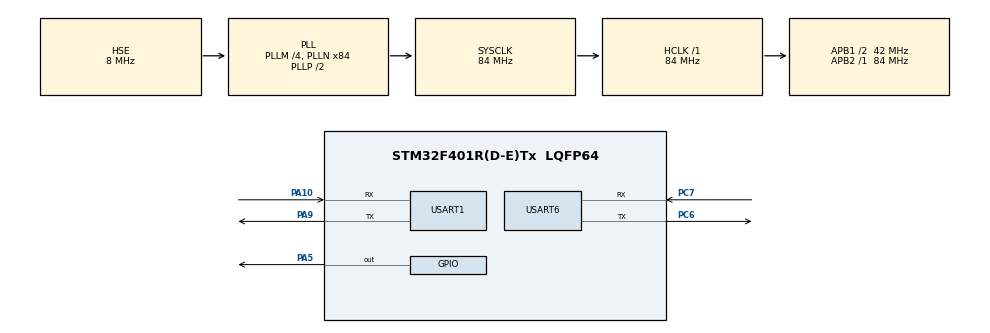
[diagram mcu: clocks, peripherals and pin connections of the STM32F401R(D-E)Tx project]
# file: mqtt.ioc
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Mcu.Family=STM32F4
Mcu.Name=STM32F401R(D-E)Tx
Mcu.Package=LQFP64
NVIC.PriorityGroup=NVIC_PRIORITYGROUP_4
NVIC.USART1_IRQn=true\:0\:0\:false\:false\:true\:true\:true\:true
NVIC.USART6_IRQn=true\:0\:0\:false\:false\:true\:true\:true\:true
PA10.Mode=Asynchronous
PA10.Signal=USART1_RX
PA13.Mode=Serial_Wire
PA13.Signal=SYS_JTMS-SWDIO
PA14.Mode=Serial_Wire
PA14.Signal=SYS_JTCK-SWCLK
PA5.Signal=GPIO_Output
PA9.Mode=Asynchronous
PA9.Signal=USART1_TX
PC6.Mode=Asynchronous
PC6.Signal=USART6_TX
PC7.Mode=Asynchronous
PC7.Signal=USART6_RX
PH0\ -\ OSC_IN.Mode=HSE-External-Clock-Source
PH0\ -\ OSC_IN.Signal=RCC_OSC_IN
PH1\ -\ OSC_OUT.Mode=HSE-External-Clock-Source
PH1\ -\ OSC_OUT.Signal=RCC_OSC_OUT
ProjectManager.HeapSize=0x200
ProjectManager.StackSize=0x400
ProjectManager.TargetToolchain=STM32CubeIDE
RCC.48MHZClocksFreq_Value=42000000
RCC.AHBFreq_Value=84000000
RCC.APB1CLKDivider=RCC_HCLK_DIV2
RCC.APB1Freq_Value=42000000
RCC.APB1TimFreq_Value=84000000
RCC.APB2Freq_Value=84000000
RCC.APB2TimFreq_Value=84000000
RCC.CortexFreq_Value=84000000
RCC.HCLKFreq_Value=84000000
RCC.HSE_VALUE=8000000
RCC.HSI_VALUE=16000000
RCC.LSE_VALUE=32768
RCC.PLLM=4
RCC.PLLN=84
RCC.PLLSourceVirtual=RCC_PLLSOURCE_HSE
RCC.SYSCLKFreq_VALUE=84000000
RCC.SYSCLKSource=RCC_SYSCLKSOURCE_PLLCLK
RCC.VCOOutputFreq_Value=168000000
USART1.VirtualMode=VM_ASYNC
USART6.VirtualMode=VM_ASYNC
board=custom

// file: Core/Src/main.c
/* USER CODE BEGIN Header */
/**
  ******************************************************************************
  * @file           : main.c
  * @brief          : Main program body
  ******************************************************************************
  * @attention
  *
  * Copyright (c) 2026 STMicroelectronics.
  * All rights reserved.
  *
  * This software is licensed under terms that can be found in the LICENSE file
  * in the root directory of this software component.
  * If no LICENSE file comes with this software, it is provided AS-IS.
  *
  ******************************************************************************
  */
/* USER CODE END Header */
#include "main.h"
#include "ESPLib.h"

UART_HandleTypeDef huart1;
UART_HandleTypeDef huart6;

void SystemClock_Config(void);
static void MX_GPIO_Init(void);
static void MX_USART1_UART_Init(void);
static void MX_USART6_UART_Init(void);

int main(void)
{

  /* MCU Configuration--------------------------------------------------------*/

  /* Reset of all peripherals, Initializes the Flash interface and the Systick. */
  HAL_Init();

  /* Configure the system clock */
  SystemClock_Config();

  /* Initialize all configured peripherals */
  MX_GPIO_Init();
  MX_USART1_UART_Init();
  MX_USART6_UART_Init();
  /* USER CODE BEGIN 2 */
  /* USER CODE BEGIN 2 */

  HAL_Delay(2000);

  ESP8266_Init(StationMode, huart6);

  HAL_Delay(2000);

  ESP8266_wifiConnect("SNUC",
                      "snu12345");

  HAL_Delay(5000);

  ESP8266_portConnect("TCP",
                      "broker.emqx.io",
                      "1883");

  HAL_Delay(3000);

  MQTT_InitTypeDef_t mqttSetting;

  mqttSetting.keepAlive = 60;
  mqttSetting.connectFlag = CleanSession;
  mqttSetting.clientID = "STM32F401RE_Pub_01";

  MQTT_connectBroker(&mqttSetting);

  HAL_Delay(2000);

  /* USER CODE END 2 */

  /* USER CODE BEGIN WHILE */
  while (1)
  {
      MQTT_publishTopic(
          "dummy",
          "Hello for the First time",
          QoS0
      );

      HAL_Delay(5000);
  }
  /* USER CODE END WHILE */

  /* USER CODE END 2 */

  /* Infinite loop */
  while (1)
  {

  }
}

void SystemClock_Config(void)
{
  RCC_OscInitTypeDef RCC_OscInitStruct = {0};
  RCC_ClkInitTypeDef RCC_ClkInitStruct = {0};

  /** Configure the main internal regulator output voltage
  */
  __HAL_RCC_PWR_CLK_ENABLE();
  __HAL_PWR_VOLTAGESCALING_CONFIG(PWR_REGULATOR_VOLTAGE_SCALE2);

  /** Initializes the RCC Oscillators according to the specified parameters
  * in the RCC_OscInitTypeDef structure.
  */
  RCC_OscInitStruct.OscillatorType = RCC_OSCILLATORTYPE_HSE;
  RCC_OscInitStruct.HSEState = RCC_HSE_BYPASS;
  RCC_OscInitStruct.PLL.PLLState = RCC_PLL_ON;
  RCC_OscInitStruct.PLL.PLLSource = RCC_PLLSOURCE_HSE;
  RCC_OscInitStruct.PLL.PLLM = 4;
  RCC_OscInitStruct.PLL.PLLN = 84;
  RCC_OscInitStruct.PLL.PLLP = RCC_PLLP_DIV2;
  RCC_OscInitStruct.PLL.PLLQ = 4;
  if (HAL_RCC_OscConfig(&RCC_OscInitStruct) != HAL_OK)
  {
    Error_Handler();
  }

  /** Initializes the CPU, AHB and APB buses clocks
  */
  RCC_ClkInitStruct.ClockType = RCC_CLOCKTYPE_HCLK|RCC_CLOCKTYPE_SYSCLK
                              |RCC_CLOCKTYPE_PCLK1|RCC_CLOCKTYPE_PCLK2;
  RCC_ClkInitStruct.SYSCLKSource = RCC_SYSCLKSOURCE_PLLCLK;
  RCC_ClkInitStruct.AHBCLKDivider = RCC_SYSCLK_DIV1;
  RCC_ClkInitStruct.APB1CLKDivider = RCC_HCLK_DIV2;
  RCC_ClkInitStruct.APB2CLKDivider = RCC_HCLK_DIV1;

  if (HAL_RCC_ClockConfig(&RCC_ClkInitStruct, FLASH_LATENCY_2) != HAL_OK)
  {
    Error_Handler();
  }
}

static void MX_USART1_UART_Init(void)
{

  huart1.Instance = USART1;
  huart1.Init.BaudRate = 115200;
  huart1.Init.WordLength = UART_WORDLENGTH_8B;
  huart1.Init.StopBits = UART_STOPBITS_1;
  huart1.Init.Parity = UART_PARITY_NONE;
  huart1.Init.Mode = UART_MODE_TX_RX;
  huart1.Init.HwFlowCtl = UART_HWCONTROL_NONE;
  huart1.Init.OverSampling = UART_OVERSAMPLING_16;
  if (HAL_UART_Init(&huart1) != HAL_OK)
  {
    Error_Handler();
  }

}

static void MX_USART6_UART_Init(void)
{

  huart6.Instance = USART6;
  huart6.Init.BaudRate = 115200;
  huart6.Init.WordLength = UART_WORDLENGTH_8B;
  huart6.Init.StopBits = UART_STOPBITS_1;
  huart6.Init.Parity = UART_PARITY_NONE;
  huart6.Init.Mode = UART_MODE_TX_RX;
  huart6.Init.HwFlowCtl = UART_HWCONTROL_NONE;
  huart6.Init.OverSampling = UART_OVERSAMPLING_16;
  if (HAL_UART_Init(&huart6) != HAL_OK)
  {
    Error_Handler();
  }

}

static void MX_GPIO_Init(void)
{
  GPIO_InitTypeDef GPIO_InitStruct = {0};

  /* GPIO Ports Clock Enable */
  __HAL_RCC_GPIOH_CLK_ENABLE();
  __HAL_RCC_GPIOA_CLK_ENABLE();
  __HAL_RCC_GPIOC_CLK_ENABLE();

  /*Configure GPIO pin Output Level */
  HAL_GPIO_WritePin(GPIOA, GPIO_PIN_5, GPIO_PIN_RESET);

  /*Configure GPIO pin : PA5 */
  GPIO_InitStruct.Pin = GPIO_PIN_5;
  GPIO_InitStruct.Mode = GPIO_MODE_OUTPUT_PP;
  GPIO_InitStruct.Pull = GPIO_NOPULL;
  GPIO_InitStruct.Speed = GPIO_SPEED_FREQ_LOW;
  HAL_GPIO_Init(GPIOA, &GPIO_InitStruct);

}

void Error_Handler(void)
{
  __disable_irq();
  while (1)
  {
  }
}
